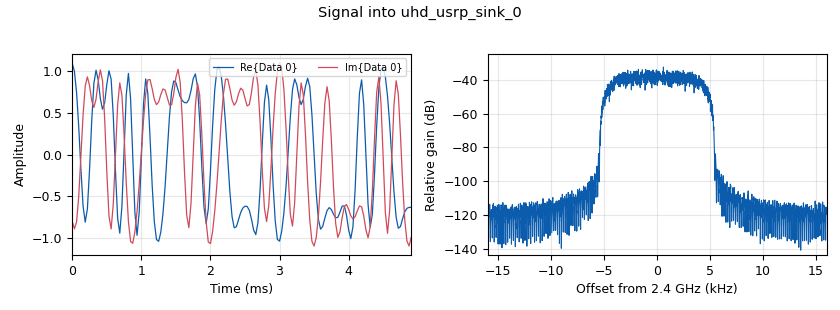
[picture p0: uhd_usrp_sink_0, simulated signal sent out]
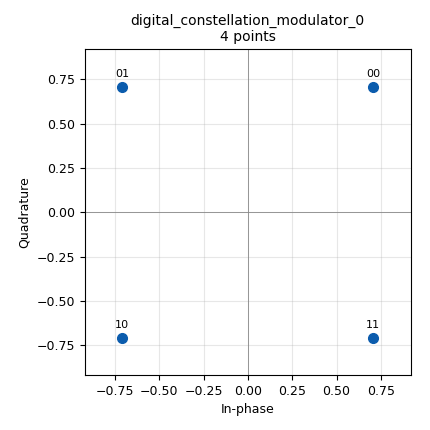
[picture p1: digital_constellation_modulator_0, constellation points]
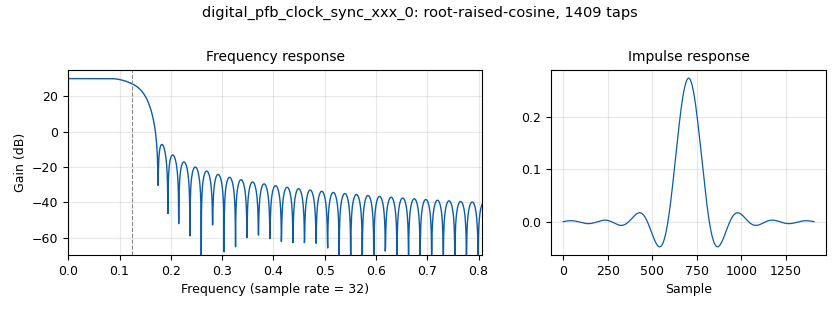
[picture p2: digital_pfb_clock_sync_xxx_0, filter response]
<?xml version='1.0' encoding='utf-8'?>
<?grc format='1' created='3.7.10'?>
<flow_graph>
<block>
<key>options</key>
<param><key>id</key><value>top_block</value></param>
<param><key>category</key><value>Custom</value></param>
<param><key>generate_options</key><value>qt_gui</value></param>
</block>
<block>
<key>variable</key>
<param><key>id</key><value>arity</value></param>
<param><key>value</key><value>4</value></param>
</block>
<block>
<key>variable</key>
<param><key>id</key><value>center_freq</value></param>
<param><key>value</key><value>2400000000</value></param>
</block>
<block>
<key>variable_qtgui_range</key>
<param><key>id</key><value>eq_gain</value></param>
<param><key>value</key><value>0.01</value></param>
<param><key>gui_hint</key><value>controls@1: 0,1,1,1</value></param>
<param><key>label</key><value>Equalizer: rate</value></param>
<param><key>orient</key><value>Qt.Horizontal</value></param>
<param><key>start</key><value>0.0</value></param>
<param><key>step</key><value>0.001</value></param>
<param><key>stop</key><value>0.1</value></param>
<param><key>widget</key><value>slider</value></param>
</block>
<block>
<key>variable</key>
<param><key>id</key><value>excess_bw</value></param>
<param><key>value</key><value>0.35</value></param>
</block>
<block>
<key>variable</key>
<param><key>id</key><value>nfilts</value></param>
<param><key>value</key><value>32</value></param>
</block>
<block>
<key>variable_qtgui_range</key>
<param><key>id</key><value>phase_bw</value></param>
<param><key>value</key><value>6.28/100.0</value></param>
<param><key>gui_hint</key><value>controls@1: 0,2,1,1</value></param>
<param><key>label</key><value>Phase: Bandwidth</value></param>
<param><key>orient</key><value>Qt.Horizontal</value></param>
<param><key>start</key><value>0.0</value></param>
<param><key>step</key><value>0.01</value></param>
<param><key>stop</key><value>1.0</value></param>
<param><key>widget</key><value>slider</value></param>
</block>
<block>
<key>variable_constellation_rect</key>
<param><key>id</key><value>qpsk</value></param>
<param><key>const_points</key><value>[0.707+0.707j, -0.707+0.707j, -0.707-0.707j, 0.707-0.707j]</value></param>
<param><key>imag_sect</key><value>2</value></param>
<param><key>real_sect</key><value>2</value></param>
<param><key>rot_sym</key><value>4</value></param>
<param><key>sym_map</key><value>[0, 1, 2, 3]</value></param>
<param><key>w_imag_sect</key><value>1</value></param>
<param><key>w_real_sect</key><value>1</value></param>
</block>
<block>
<key>variable</key>
<param><key>id</key><value>rrc_taps</value></param>
<param><key>value</key><value>firdes.root_raised_cosine(nfilts, nfilts, 1.0/float(sps), 0.35, 11*sps*nfilts)</value></param>
</block>
<block>
<key>variable</key>
<param><key>id</key><value>samp_rate</value></param>
<param><key>value</key><value>32000</value></param>
</block>
<block>
<key>variable</key>
<param><key>id</key><value>samp_rate_0</value></param>
<param><key>value</key><value>1000000</value></param>
</block>
<block>
<key>variable</key>
<param><key>id</key><value>sps</value></param>
<param><key>value</key><value>4</value></param>
</block>
<block>
<key>variable</key>
<param><key>id</key><value>taps</value></param>
<param><key>value</key><value>[1.0 + 0.0j, ]</value></param>
</block>
<block>
<key>variable_qtgui_range</key>
<param><key>id</key><value>time_offset</value></param>
<param><key>value</key><value>1.00</value></param>
<param><key>_enabled</key><value>0</value></param>
<param><key>gui_hint</key><value>controls@0: 0,2,1,1</value></param>
<param><key>label</key><value>Timing Offset</value></param>
<param><key>orient</key><value>Qt.Horizontal</value></param>
<param><key>start</key><value>0.999</value></param>
<param><key>step</key><value>0.0001</value></param>
<param><key>stop</key><value>1.001</value></param>
</block>
<block>
<key>variable_qtgui_range</key>
<param><key>id</key><value>timing_loop_bw</value></param>
<param><key>value</key><value>6.28/100.0</value></param>
<param><key>gui_hint</key><value>controls@1: 0,0,1,1</value></param>
<param><key>label</key><value>Time: BW</value></param>
<param><key>orient</key><value>Qt.Horizontal</value></param>
<param><key>start</key><value>0.0</value></param>
<param><key>step</key><value>0.01</value></param>
<param><key>stop</key><value>0.2</value></param>
<param><key>widget</key><value>slider</value></param>
</block>
<block>
<key>analog_random_source_x</key>
<param><key>id</key><value>analog_random_source_x_0</value></param>
<param><key>max</key><value>256</value></param>
<param><key>min</key><value>0</value></param>
<param><key>num_samps</key><value>10000</value></param>
<param><key>type</key><value>byte</value></param>
<param><key>repeat</key><value>True</value></param>
</block>
<block>
<key>qtgui_tab_widget</key>
<param><key>id</key><value>controls</value></param>
<param><key>gui_hint</key><value>0,0,1,2</value></param>
<param><key>label0</key><value>channel</value></param>
<param><key>label1</key><value>receiver</value></param>
<param><key>num_tabs</key><value>2</value></param>
</block>
<block>
<key>digital_cma_equalizer_cc</key>
<param><key>id</key><value>digital_cma_equalizer_cc_0</value></param>
<param><key>mu</key><value>eq_gain</value></param>
<param><key>modulus</key><value>1</value></param>
<param><key>num_taps</key><value>15</value></param>
<param><key>sps</key><value>2</value></param>
</block>
<block>
<key>digital_constellation_modulator</key>
<param><key>id</key><value>digital_constellation_modulator_0</value></param>
<param><key>constellation</key><value>qpsk</value></param>
<param><key>differential</key><value>False</value></param>
<param><key>excess_bw</key><value>excess_bw</value></param>
<param><key>samples_per_symbol</key><value>sps</value></param>
</block>
<block>
<key>digital_costas_loop_cc</key>
<param><key>id</key><value>digital_costas_loop_cc_0</value></param>
<param><key>w</key><value>phase_bw</value></param>
<param><key>order</key><value>arity</value></param>
</block>
<block>
<key>digital_pfb_clock_sync_xxx</key>
<param><key>id</key><value>digital_pfb_clock_sync_xxx_0</value></param>
<param><key>filter_size</key><value>nfilts</value></param>
<param><key>init_phase</key><value>nfilts/2</value></param>
<param><key>loop_bw</key><value>timing_loop_bw</value></param>
<param><key>max_dev</key><value>1.5</value></param>
<param><key>osps</key><value>2</value></param>
<param><key>sps</key><value>sps</value></param>
<param><key>taps</key><value>rrc_taps</value></param>
<param><key>type</key><value>ccf</value></param>
</block>
<block>
<key>qtgui_const_sink_x</key>
<param><key>id</key><value>qtgui_const_sink_x_0</value></param>
<param><key>gui_hint</key><value>1,1,1,1</value></param>
<param><key>alpha1</key><value>0.6</value></param>
<param><key>label1</key><value>Locked</value></param>
<param><key>name</key><value>"after costas loop"</value></param>
<param><key>size</key><value>1024</value></param>
<param><key>type</key><value>complex</value></param>
</block>
<block>
<key>qtgui_const_sink_x</key>
<param><key>id</key><value>qtgui_const_sink_x_0_0</value></param>
<param><key>gui_hint</key><value>1,0,1,1</value></param>
<param><key>alpha1</key><value>0.6</value></param>
<param><key>label1</key><value>Equalized</value></param>
<param><key>name</key><value>"after equalizer"</value></param>
<param><key>size</key><value>1024</value></param>
<param><key>type</key><value>complex</value></param>
</block>
<block>
<key>qtgui_const_sink_x</key>
<param><key>id</key><value>qtgui_const_sink_x_1</value></param>
<param><key>name</key><value>"after polyphase clock sync"</value></param>
<param><key>size</key><value>1024</value></param>
<param><key>type</key><value>complex</value></param>
</block>
<block>
<key>uhd_usrp_sink</key>
<param><key>id</key><value>uhd_usrp_sink_0</value></param>
<param><key>ant0</key><value>TX/RX</value></param>
<param><key>bw0</key><value>samp_rate/2</value></param>
<param><key>center_freq0</key><value>center_freq</value></param>
<param><key>norm_gain0</key><value>False</value></param>
<param><key>gain0</key><value>40</value></param>
<param><key>clock_rate</key><value>0.0</value></param>
<param><key>dev_addr</key><value></value></param>
<param><key>dev_args</key><value>""</value></param>
<param><key>type</key><value>fc32</value></param>
<param><key>samp_rate</key><value>samp_rate</value></param>
<param><key>hide_cmd_port</key><value>False</value></param>
<param><key>sync</key><value></value></param>
<param><key>len_tag_name</key><value></value></param>
</block>
<block>
<key>uhd_usrp_source</key>
<param><key>id</key><value>uhd_usrp_source_0</value></param>
<param><key>ant0</key><value>RX2</value></param>
<param><key>bw0</key><value>samp_rate/2</value></param>
<param><key>center_freq0</key><value>center_freq</value></param>
<param><key>dc_offs_enb0</key><value>""</value></param>
<param><key>iq_imbal_enb0</key><value>""</value></param>
<param><key>norm_gain0</key><value>False</value></param>
<param><key>gain0</key><value>50</value></param>
<param><key>clock_rate</key><value>0.0</value></param>
<param><key>dev_addr</key><value></value></param>
<param><key>dev_args</key><value>""</value></param>
<param><key>type</key><value>fc32</value></param>
<param><key>samp_rate</key><value>samp_rate</value></param>
<param><key>hide_cmd_port</key><value>False</value></param>
<param><key>sync</key><value></value></param>
</block>
<connection><source_block_id>analog_random_source_x_0</source_block_id><sink_block_id>digital_constellation_modulator_0</sink_block_id><source_key>0</source_key><sink_key>0</sink_key></connection>
<connection><source_block_id>digital_cma_equalizer_cc_0</source_block_id><sink_block_id>digital_costas_loop_cc_0</sink_block_id><source_key>0</source_key><sink_key>0</sink_key></connection>
<connection><source_block_id>digital_cma_equalizer_cc_0</source_block_id><sink_block_id>qtgui_const_sink_x_0_0</sink_block_id><source_key>0</source_key><sink_key>0</sink_key></connection>
<connection><source_block_id>digital_constellation_modulator_0</source_block_id><sink_block_id>uhd_usrp_sink_0</sink_block_id><source_key>0</source_key><sink_key>0</sink_key></connection>
<connection><source_block_id>digital_costas_loop_cc_0</source_block_id><sink_block_id>qtgui_const_sink_x_0</sink_block_id><source_key>0</source_key><sink_key>0</sink_key></connection>
<connection><source_block_id>digital_pfb_clock_sync_xxx_0</source_block_id><sink_block_id>digital_cma_equalizer_cc_0</sink_block_id><source_key>0</source_key><sink_key>0</sink_key></connection>
<connection><source_block_id>digital_pfb_clock_sync_xxx_0</source_block_id><sink_block_id>qtgui_const_sink_x_1</sink_block_id><source_key>0</source_key><sink_key>0</sink_key></connection>
<connection><source_block_id>uhd_usrp_source_0</source_block_id><sink_block_id>digital_pfb_clock_sync_xxx_0</sink_block_id><source_key>0</source_key><sink_key>0</sink_key></connection>
</flow_graph>
